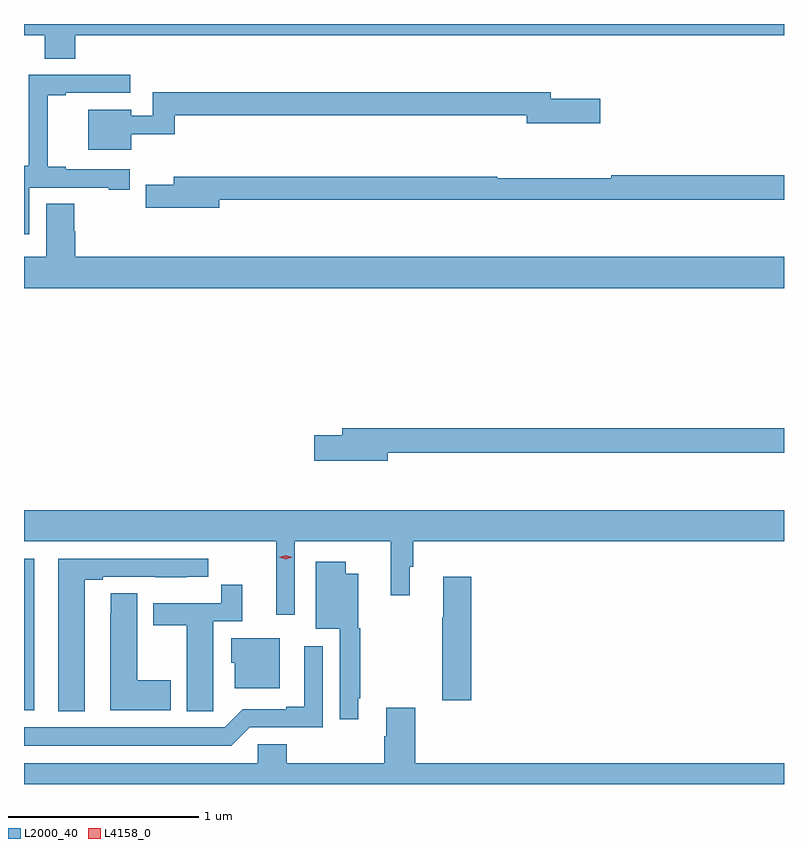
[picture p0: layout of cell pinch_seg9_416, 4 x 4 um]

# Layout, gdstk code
import gdstk
lib = gdstk.Library(unit=1e-6, precision=1e-09)
def R(c, l, rs):  # rectangles x0, y0, x1, y1
    for r in rs: c.add(gdstk.rectangle(r[:2], r[2:], *l))
def P(c, l, *ps):  # polygons
    for p in ps: c.add(gdstk.Polygon(p, *l))
L2000_40 = (2000, 40)
L4158_0 = (4158, 0)

pinch_seg9_416 = lib.new_cell('pinch_seg9_416')
R(pinch_seg9_416, L2000_40, [(203.547,1215.51,203.602,1216.308)])
P(pinch_seg9_416, L2000_40, [(203.816,1219.064),(207.547,1219.064),(207.547,1219.122),(203.547,1219.122),(203.547,1219.064),(203.656,1219.064),(203.656,1218.94),(203.816,1218.94)],
  [(203.574,1218.261),(203.993,1218.261),(203.993,1218.249),(204.103,1218.249),(204.103,1218.357),(203.767,1218.357),(203.767,1218.37),(203.672,1218.37),(203.672,1218.747),(203.767,1218.747),(203.767,1218.759),(204.106,1218.759),(204.106,1218.855),(203.572,1218.855),(203.572,1218.377),(203.547,1218.377),(203.547,1218.015),(203.574,1218.015)],
  [(204.112,1218.541),(204.341,1218.541),(204.341,1218.642),(206.192,1218.642),(206.192,1218.599),(206.581,1218.599),(206.581,1218.729),(206.32,1218.729),(206.32,1218.763),(204.225,1218.763),(204.225,1218.639),(204.112,1218.639),(204.112,1218.67),(203.885,1218.67),(203.885,1218.461),(204.112,1218.461)],
  [(204.574,1218.198),(207.547,1218.198),(207.547,1218.326),(206.639,1218.326),(206.639,1218.311),(206.039,1218.311),(206.039,1218.319),(204.335,1218.319),(204.335,1218.277),(204.188,1218.277),(204.188,1218.155),(204.574,1218.155)],
  [(207.547,1217.896),(203.816,1217.896),(203.816,1218.03),(203.811,1218.03),(203.811,1218.176),(203.663,1218.176),(203.663,1217.896),(203.547,1217.896),(203.547,1217.732),(207.547,1217.732)],
  [(205.462,1216.866),(207.547,1216.866),(207.547,1216.994),(205.223,1216.994),(205.223,1216.958),(205.074,1216.958),(205.074,1216.823),(205.462,1216.823)],
  [(204.972,1216.4),(205.477,1216.4),(205.477,1216.116),(205.576,1216.116),(205.576,1216.266),(205.595,1216.266),(205.595,1216.4),(207.547,1216.4),(207.547,1216.564),(203.547,1216.564),(203.547,1216.4),(204.875,1216.4),(204.875,1216.014),(204.972,1216.014)],
  [(203.866,1216.197),(203.962,1216.197),(203.962,1216.212),(204.238,1216.212),(204.238,1216.211),(204.404,1216.211),(204.404,1216.212),(204.517,1216.212),(204.517,1216.308),(203.726,1216.308),(203.726,1215.505),(203.866,1215.505)],
  [(205.306,1215.574),(205.318,1215.574),(205.318,1215.942),(205.306,1215.942),(205.306,1216.228),(205.24,1216.228),(205.24,1216.291),(205.082,1216.291),(205.082,1215.938),(205.209,1215.938),(205.209,1215.462),(205.306,1215.462)],
  [(205.901,1216.213),(205.754,1216.213),(205.754,1216),(205.747,1216),(205.747,1215.564),(205.901,1215.564)],
  [(204.543,1215.616),(204.544,1215.616),(204.544,1215.978),(204.695,1215.978),(204.695,1216.171),(204.586,1216.171),(204.586,1216.074),(204.227,1216.074),(204.227,1215.958),(204.404,1215.958),(204.404,1215.505),(204.543,1215.505)],
  [(204.319,1215.669),(204.142,1215.669),(204.142,1216.127),(204.003,1216.127),(204.003,1216.019),(204.002,1216.019),(204.002,1215.509),(204.319,1215.509)],
  [(204.892,1215.889),(204.638,1215.889),(204.638,1215.759),(204.656,1215.759),(204.656,1215.626),(204.892,1215.626)],
  [(204.735,1215.42),(205.119,1215.42),(205.119,1215.847),(205.022,1215.847),(205.022,1215.529),(204.926,1215.529),(204.926,1215.516),(204.699,1215.516),(204.603,1215.42),(203.547,1215.42),(203.547,1215.324),(204.639,1215.324)],
  [(207.547,1215.232),(205.607,1215.232),(205.607,1215.523),(205.454,1215.523),(205.454,1215.374),(205.442,1215.374),(205.442,1215.232),(204.929,1215.232),(204.929,1215.33),(204.777,1215.33),(204.777,1215.232),(203.547,1215.232),(203.547,1215.122),(207.547,1215.122)])
P(pinch_seg9_416, L4158_0, [(204.924,1216.305),(204.889,1216.315),(204.889,1216.315),(204.889,1216.315),(204.924,1216.325),(204.959,1216.315),(204.959,1216.315),(204.959,1216.315)])

lib.write_gds('pinch_seg9_416.gds')
